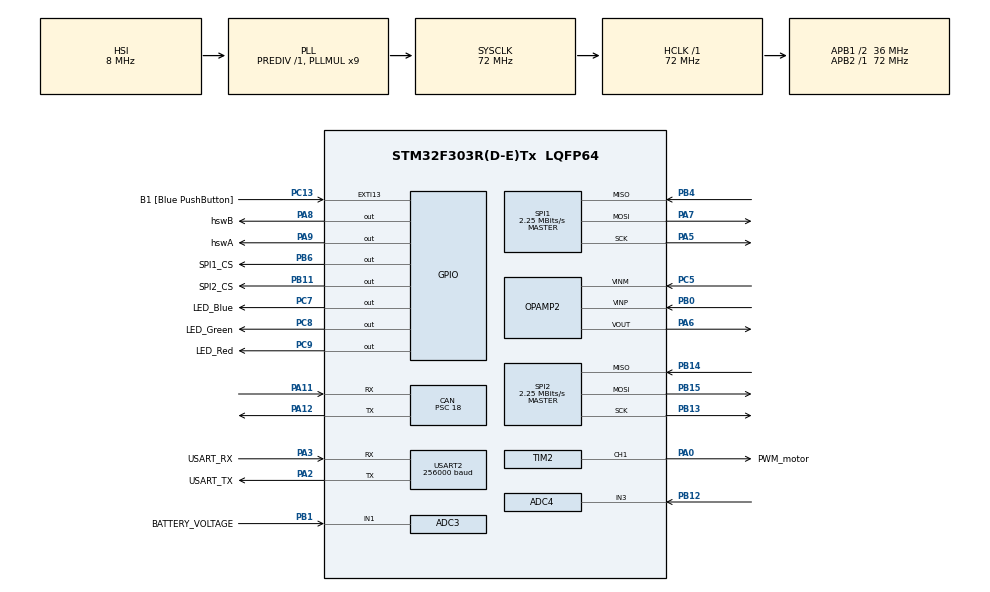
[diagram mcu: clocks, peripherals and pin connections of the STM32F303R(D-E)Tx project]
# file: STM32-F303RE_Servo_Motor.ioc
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ADC1.Channel-0\#ChannelRegularConversion=ADC_CHANNEL_TEMPSENSOR
ADC1.NbrOfConversion=1
ADC1.NbrOfConversionFlag=1
ADC1.Offset-0\#ChannelRegularConversion=0
ADC1.OffsetNumber-0\#ChannelRegularConversion=ADC_OFFSET_NONE
ADC1.Rank-0\#ChannelRegularConversion=1
ADC1.SamplingTime-0\#ChannelRegularConversion=ADC_SAMPLETIME_601CYCLES_5
ADC1.SamplingTimeOPAMP-0\#ChannelRegularConversion=ADC_SAMPLETIME_61CYCLES_5
ADC1.master=1
ADC2.Channel-1\#ChannelRegularConversion=ADC_CHANNEL_3
ADC2.NbrOfConversionFlag=1
ADC2.Offset-1\#ChannelRegularConversion=0
ADC2.OffsetNumber-1\#ChannelRegularConversion=ADC_OFFSET_NONE
ADC2.Rank-1\#ChannelRegularConversion=1
ADC2.SamplingTime-1\#ChannelRegularConversion=ADC_SAMPLETIME_601CYCLES_5
ADC2.SamplingTimeOPAMP-1\#ChannelRegularConversion=ADC_SAMPLETIME_601CYCLES_5
ADC3.Channel-0\#ChannelRegularConversion=ADC_CHANNEL_1
ADC3.NbrOfConversionFlag=1
ADC3.Offset-0\#ChannelRegularConversion=0
ADC3.OffsetNumber-0\#ChannelRegularConversion=ADC_OFFSET_NONE
ADC3.Rank-0\#ChannelRegularConversion=1
ADC3.SamplingTime-0\#ChannelRegularConversion=ADC_SAMPLETIME_601CYCLES_5
ADC3.SamplingTimeOPAMP-0\#ChannelRegularConversion=ADC_SAMPLETIME_61CYCLES_5
ADC3.master=1
ADC4.Channel-1\#ChannelRegularConversion=ADC_CHANNEL_3
ADC4.NbrOfConversionFlag=1
ADC4.Offset-1\#ChannelRegularConversion=0
ADC4.OffsetNumber-1\#ChannelRegularConversion=ADC_OFFSET_NONE
ADC4.Rank-1\#ChannelRegularConversion=1
ADC4.SamplingTime-1\#ChannelRegularConversion=ADC_SAMPLETIME_601CYCLES_5
ADC4.SamplingTimeOPAMP-1\#ChannelRegularConversion=ADC_SAMPLETIME_61CYCLES_5
CAN.BS1=CAN_BS1_2TQ
CAN.CalculateBaudRate=500000
CAN.CalculateTimeBit=2000
CAN.CalculateTimeQuantum=500.0
CAN.NART=DISABLE
CAN.Prescaler=18
FREERTOS.Tasks01=servoUpdate,3,512,StartServoUpdateTask,Default,NULL,Dynamic,NULL,NULL;canFifo0,1,128,startCanFifo0,Default,NULL,Dynamic,NULL,NULL;canFifo1,0,128,StartCanFifo1,Default,NULL,Dynamic,NULL,NULL;canOutput,-3,128,StartCanOutput,Default,NULL,Dynamic,NULL,NULL
FREERTOS.configTOTAL_HEAP_SIZE=4096
FREERTOS.configUSE_NEWLIB_REENTRANT=1
Mcu.Family=STM32F3
Mcu.Name=STM32F303R(D-E)Tx
Mcu.Package=LQFP64
NVIC.CAN_RX1_IRQn=true\:5\:0\:false\:false\:true\:true\:true\:true\:true
NVIC.PriorityGroup=NVIC_PRIORITYGROUP_4
NVIC.TIM1_UP_TIM16_IRQn=true\:15\:0\:false\:false\:true\:false\:false\:true\:true
NVIC.TimeBase=TIM1_UP_TIM16_IRQn
NVIC.TimeBaseIP=TIM1
NVIC.USB_LP_CAN_RX0_IRQn=true\:5\:0\:false\:false\:true\:true\:true\:true\:true
PA0.GPIO_Label=PWM_motor
PA0.Signal=S_TIM2_CH1_ETR
PA11.Mode=CAN_Activate
PA11.Signal=CAN_RX
PA12.Mode=CAN_Activate
PA12.Signal=CAN_TX
PA13.GPIO_Label=TMS
PA13.Mode=Serial_Wire
PA13.Signal=SYS_JTMS-SWDIO
PA14.GPIO_Label=TCK
PA14.Mode=Serial_Wire
PA14.Signal=SYS_JTCK-SWCLK
PA2.GPIO_Label=USART_TX
PA2.GPIO_Mode=GPIO_MODE_AF_PP
PA2.GPIO_PuPd=GPIO_NOPULL
PA2.GPIO_Speed=GPIO_SPEED_FREQ_LOW
PA2.Mode=Asynchronous
PA2.Signal=USART2_TX
PA3.GPIO_Label=USART_RX
PA3.GPIO_Mode=GPIO_MODE_AF_PP
PA3.GPIO_PuPd=GPIO_NOPULL
PA3.GPIO_Speed=GPIO_SPEED_FREQ_LOW
PA3.Mode=Asynchronous
PA3.Signal=USART2_RX
PA5.Mode=Full_Duplex_Master
PA5.Signal=SPI1_SCK
PA6.Mode=Standalone
PA6.Signal=OPAMP2_VOUT
PA7.Mode=Full_Duplex_Master
PA7.Signal=SPI1_MOSI
PA8.GPIO_Label=hswB
PA8.Signal=GPIO_Output
PA9.GPIO_Label=hswA
PA9.Signal=GPIO_Output
PB0.Mode=Standalone
PB0.Signal=OPAMP2_VINP
PB1.GPIO_Label=BATTERY_VOLTAGE
PB1.Mode=IN1-Single-Ended
PB1.Signal=ADC3_IN1
PB11.GPIO_Label=SPI2_CS
PB11.Signal=GPIO_Output
PB12.Mode=IN3-Single-Ended
PB12.Signal=ADC4_IN3
PB13.Mode=Full_Duplex_Master
PB13.Signal=SPI2_SCK
PB14.Mode=Full_Duplex_Master
PB14.Signal=SPI2_MISO
PB15.Mode=Full_Duplex_Master
PB15.Signal=SPI2_MOSI
PB3.GPIO_Label=SWO
PB3.Signal=SYS_JTDO-TRACESWO
PB4.Mode=Full_Duplex_Master
PB4.Signal=SPI1_MISO
PB6.GPIO_Label=SPI1_CS
PB6.Signal=GPIO_Output
PC13.GPIO_Label=B1 [Blue PushButton]
PC13.GPIO_ModeDefaultEXTI=GPIO_MODE_IT_FALLING
PC13.Signal=GPXTI13
PC14-OSC32_IN.Mode=LSE-External-Oscillator
PC14-OSC32_IN.Signal=RCC_OSC32_IN
PC15-OSC32_OUT.Mode=LSE-External-Oscillator
PC15-OSC32_OUT.Signal=RCC_OSC32_OUT
PC5.Mode=Standalone
PC5.Signal=OPAMP2_VINM
PC7.GPIO_Label=LED_Blue
PC7.Signal=GPIO_Output
PC8.GPIO_Label=LED_Green
PC8.Signal=GPIO_Output
PC9.GPIO_Label=LED_Red
PC9.Signal=GPIO_Output
PF0-OSC_IN.Mode=HSE-External-Clock-Source
PF0-OSC_IN.Signal=RCC_OSC_IN
PF1-OSC_OUT.Signal=RCC_OSC_OUT
ProjectManager.HeapSize=0x200
ProjectManager.StackSize=0x400
ProjectManager.TargetToolchain=STM32CubeIDE
RCC.AHBFreq_Value=72000000
RCC.APB1CLKDivider=RCC_HCLK_DIV2
RCC.APB1Freq_Value=36000000
RCC.APB1TimFreq_Value=72000000
RCC.APB2Freq_Value=72000000
RCC.APB2TimFreq_Value=72000000
RCC.CortexFreq_Value=72000000
RCC.HCLKFreq_Value=72000000
RCC.HSE_VALUE=8000000
RCC.HSI_VALUE=8000000
RCC.PLLM=8
RCC.PLLMUL=RCC_PLL_MUL9
RCC.PLLN=336
RCC.PLLP=RCC_PLLP_DIV4
RCC.PLLQ=7
RCC.RCC_PLLsource_Clock_Source_FROM_HSE=RCC_HSE_PREDIV_DIV2
RCC.SYSCLKFreq_VALUE=72000000
RCC.SYSCLKSourceVirtual=RCC_SYSCLKSOURCE_PLLCLK
RCC.USBFreq_Value=72000000
SH.S_TIM2_CH1_ETR.0=TIM2_CH1,PWM Generation1 CH1
SPI1.BaudRatePrescaler=SPI_BAUDRATEPRESCALER_32
SPI1.CLKPhase=SPI_PHASE_2EDGE
SPI1.CalculateBaudRate=2.25 MBits/s
SPI1.DataSize=SPI_DATASIZE_16BIT
SPI1.Direction=SPI_DIRECTION_2LINES
SPI1.Mode=SPI_MODE_MASTER
SPI1.VirtualType=VM_MASTER
SPI2.BaudRatePrescaler=SPI_BAUDRATEPRESCALER_16
SPI2.CLKPhase=SPI_PHASE_2EDGE
SPI2.CLKPolarity=SPI_POLARITY_HIGH
SPI2.CalculateBaudRate=2.25 MBits/s
SPI2.DataSize=SPI_DATASIZE_8BIT
SPI2.Direction=SPI_DIRECTION_2LINES
SPI2.Mode=SPI_MODE_MASTER
SPI2.VirtualType=VM_MASTER
TIM2.Channel-PWM\ Generation1\ CH1=TIM_CHANNEL_1
TIM2.Period=1024
USART2.BaudRate=256000
USART2.Mode=MODE_TX
USART2.OverSampling=UART_OVERSAMPLING_16
USART2.VirtualMode-Asynchronous=VM_ASYNC
VP_ADC1_TempSens_Input.Mode=IN-TempSens
VP_ADC2_OPAMP_OUT2.Mode=IN3-OPAMP2-Single-Ended
VP_FREERTOS_VS_CMSIS_V1.Mode=CMSIS_V1
VP_SYS_VS_tim1.Mode=TIM1
VP_TIM2_VS_ClockSourceINT.Mode=Internal
board=NUCLEO-F303RE

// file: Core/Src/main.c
/* USER CODE BEGIN Header */
/**
  ******************************************************************************
  * @file           : main.c
  * @brief          : Main program body
  ******************************************************************************
  * @attention
  *
  * Copyright (c) 2024 STMicroelectronics.
  * All rights reserved.
  *
  * This software is licensed under terms that can be found in the LICENSE file
  * in the root directory of this software component.
  * If no LICENSE file comes with this software, it is provided AS-IS.
  *
  ******************************************************************************
  */
/* USER CODE END Header */
#include "main.h"
#include "cmsis_os.h"

/* USER CODE BEGIN Includes */
#include "Motor.h"
#include "AS5048A.h"
#include "ADC.h"
#include "HBRIDGE.h"
#include "CAN.h"
#include "LSM6DSO.h"

#include <stdio.h>
#include <stdlib.h>
#include <string.h>
/* USER CODE END Includes */

ADC_HandleTypeDef hadc1;
ADC_HandleTypeDef hadc2;
ADC_HandleTypeDef hadc3;
ADC_HandleTypeDef hadc4;

CAN_HandleTypeDef hcan;

OPAMP_HandleTypeDef hopamp2;

SPI_HandleTypeDef hspi1;
SPI_HandleTypeDef hspi2;

TIM_HandleTypeDef htim2;

UART_HandleTypeDef huart2;

osThreadId servoUpdateHandle;
osThreadId canFifo0Handle;
osThreadId canFifo1Handle;
osThreadId canOutputHandle;
/* USER CODE BEGIN PV */

SERVO_CONTROL servo;

/* USER CODE END PV */

void SystemClock_Config(void);
static void MX_GPIO_Init(void);
static void MX_USART2_UART_Init(void);
static void MX_SPI1_Init(void);
static void MX_ADC1_Init(void);
static void MX_TIM2_Init(void);
static void MX_ADC2_Init(void);
static void MX_ADC3_Init(void);
static void MX_ADC4_Init(void);
static void MX_CAN_Init(void);
static void MX_SPI2_Init(void);
static void MX_OPAMP2_Init(void);
void StartServoUpdateTask(void const * argument);
void startCanFifo0(void const * argument);
void StartCanFifo1(void const * argument);
void StartCanOutput(void const * argument);

/* USER CODE BEGIN 0 */
uint16_t count = 0;

/* USER CODE END 0 */

int main(void)
{

  /* MCU Configuration--------------------------------------------------------*/

  /* Reset of all peripherals, Initializes the Flash interface and the Systick. */
  HAL_Init();

  /* Configure the system clock */
  SystemClock_Config();

  /* Initialize all configured peripherals */
  MX_GPIO_Init();
  MX_USART2_UART_Init();
  MX_SPI1_Init();
  MX_ADC1_Init();
  MX_TIM2_Init();
  MX_ADC2_Init();
  MX_ADC3_Init();
  MX_ADC4_Init();
  MX_CAN_Init();
  MX_SPI2_Init();
  MX_OPAMP2_Init();
  /* USER CODE BEGIN 2 */

  	  /*   Set status led to blue   */
  	  ledSet(0, 0, 1);

  	  /*   Preliminary initialisation sequence   */
  	  servoInit		(&servo);
  	  pidInit		(&servo);
  	  canInit		(&servo, &hcan);

  	  // WHILE STARTUP in stated!

  	  encoderInit	(&servo, &hspi1, SPI1_CS_GPIO_Port, SPI1_CS_Pin);
  	  motorInit		(&servo, &htim2, TIM_CHANNEL_1, hswA_GPIO_Port, hswA_Pin, hswB_GPIO_Port, hswB_Pin);
  	  sensorsInit	(&servo, &hadc1, &hadc2, &hadc3, &hadc4, &hopamp2);

  	  imuInit		(&servo, &hspi2, SPI2_CS_GPIO_Port, SPI2_CS_Pin);

  /* USER CODE END 2 */

  /* Create the thread(s) */
  /* definition and creation of servoUpdate */
  osThreadDef(servoUpdate, StartServoUpdateTask, osPriorityRealtime, 0, 512);
  servoUpdateHandle = osThreadCreate(osThread(servoUpdate), NULL);

  /* definition and creation of canFifo0 */
  osThreadDef(canFifo0, startCanFifo0, osPriorityAboveNormal, 0, 128);
  canFifo0Handle = osThreadCreate(osThread(canFifo0), NULL);

  /* definition and creation of canFifo1 */
  osThreadDef(canFifo1, StartCanFifo1, osPriorityNormal, 0, 128);
  canFifo1Handle = osThreadCreate(osThread(canFifo1), NULL);

  /* definition and creation of canOutput */
  osThreadDef(canOutput, StartCanOutput, osPriorityIdle, 0, 128);
  canOutputHandle = osThreadCreate(osThread(canOutput), NULL);

  /* USER CODE BEGIN RTOS_THREADS */

  /*   Pause can inbox read functions   */
  vTaskSuspend(canFifo0Handle);
  vTaskSuspend(canFifo1Handle);

  /*   Link task handles to struct   */
  servo.can.taskFIFO0 = canFifo0Handle;
  servo.can.taskFIFO1 = canFifo1Handle;

  /*   Activate CAN callback functions   */
  CAN_ActivateCallback(&servo.can);

/*TEMP!!!!!!!!!!!!!!!!!!!!!!!!!!!*/
  torqueEnable(&servo, 1);

  /*   Set status led to green   */
  ledSet(0, 1, 0);

  /* USER CODE END RTOS_THREADS */

  /* Start scheduler */
  osKernelStart();

  /* We should never get here as control is now taken by the scheduler */

  /* Infinite loop */
  while (1)
  {

  }
}

void SystemClock_Config(void)
{
  RCC_OscInitTypeDef RCC_OscInitStruct = {0};
  RCC_ClkInitTypeDef RCC_ClkInitStruct = {0};
  RCC_PeriphCLKInitTypeDef PeriphClkInit = {0};

  /** Initializes the RCC Oscillators according to the specified parameters
  * in the RCC_OscInitTypeDef structure.
  */
  RCC_OscInitStruct.OscillatorType = RCC_OSCILLATORTYPE_HSI;
  RCC_OscInitStruct.HSIState = RCC_HSI_ON;
  RCC_OscInitStruct.HSICalibrationValue = RCC_HSICALIBRATION_DEFAULT;
  RCC_OscInitStruct.PLL.PLLState = RCC_PLL_ON;
  RCC_OscInitStruct.PLL.PLLSource = RCC_PLLSOURCE_HSI;
  RCC_OscInitStruct.PLL.PLLMUL = RCC_PLL_MUL9;
  RCC_OscInitStruct.PLL.PREDIV = RCC_PREDIV_DIV1;
  if (HAL_RCC_OscConfig(&RCC_OscInitStruct) != HAL_OK)
  {
    Error_Handler();
  }

  /** Initializes the CPU, AHB and APB buses clocks
  */
  RCC_ClkInitStruct.ClockType = RCC_CLOCKTYPE_HCLK|RCC_CLOCKTYPE_SYSCLK
                              |RCC_CLOCKTYPE_PCLK1|RCC_CLOCKTYPE_PCLK2;
  RCC_ClkInitStruct.SYSCLKSource = RCC_SYSCLKSOURCE_PLLCLK;
  RCC_ClkInitStruct.AHBCLKDivider = RCC_SYSCLK_DIV1;
  RCC_ClkInitStruct.APB1CLKDivider = RCC_HCLK_DIV2;
  RCC_ClkInitStruct.APB2CLKDivider = RCC_HCLK_DIV1;

  if (HAL_RCC_ClockConfig(&RCC_ClkInitStruct, FLASH_LATENCY_2) != HAL_OK)
  {
    Error_Handler();
  }
  PeriphClkInit.PeriphClockSelection = RCC_PERIPHCLK_USART2|RCC_PERIPHCLK_ADC12
                              |RCC_PERIPHCLK_ADC34|RCC_PERIPHCLK_TIM2;
  PeriphClkInit.Usart2ClockSelection = RCC_USART2CLKSOURCE_PCLK1;
  PeriphClkInit.Adc12ClockSelection = RCC_ADC12PLLCLK_DIV1;
  PeriphClkInit.Adc34ClockSelection = RCC_ADC34PLLCLK_DIV1;
  PeriphClkInit.Tim2ClockSelection = RCC_TIM2CLK_HCLK;
  if (HAL_RCCEx_PeriphCLKConfig(&PeriphClkInit) != HAL_OK)
  {
    Error_Handler();
  }
}

static void MX_ADC1_Init(void)
{

  ADC_MultiModeTypeDef multimode = {0};
  ADC_ChannelConfTypeDef sConfig = {0};

  /** Common config
  */
  hadc1.Instance = ADC1;
  hadc1.Init.ClockPrescaler = ADC_CLOCK_ASYNC_DIV1;
  hadc1.Init.Resolution = ADC_RESOLUTION_12B;
  hadc1.Init.ScanConvMode = ADC_SCAN_DISABLE;
  hadc1.Init.ContinuousConvMode = DISABLE;
  hadc1.Init.DiscontinuousConvMode = DISABLE;
  hadc1.Init.ExternalTrigConvEdge = ADC_EXTERNALTRIGCONVEDGE_NONE;
  hadc1.Init.ExternalTrigConv = ADC_SOFTWARE_START;
  hadc1.Init.DataAlign = ADC_DATAALIGN_RIGHT;
  hadc1.Init.NbrOfConversion = 1;
  hadc1.Init.DMAContinuousRequests = DISABLE;
  hadc1.Init.EOCSelection = ADC_EOC_SINGLE_CONV;
  hadc1.Init.LowPowerAutoWait = DISABLE;
  hadc1.Init.Overrun = ADC_OVR_DATA_OVERWRITTEN;
  if (HAL_ADC_Init(&hadc1) != HAL_OK)
  {
    Error_Handler();
  }

  /** Configure the ADC multi-mode
  */
  multimode.Mode = ADC_MODE_INDEPENDENT;
  if (HAL_ADCEx_MultiModeConfigChannel(&hadc1, &multimode) != HAL_OK)
  {
    Error_Handler();
  }

  /** Configure Regular Channel
  */
  sConfig.Channel = ADC_CHANNEL_TEMPSENSOR;
  sConfig.Rank = ADC_REGULAR_RANK_1;
  sConfig.SingleDiff = ADC_SINGLE_ENDED;
  sConfig.SamplingTime = ADC_SAMPLETIME_601CYCLES_5;
  sConfig.OffsetNumber = ADC_OFFSET_NONE;
  sConfig.Offset = 0;
  if (HAL_ADC_ConfigChannel(&hadc1, &sConfig) != HAL_OK)
  {
    Error_Handler();
  }

}

static void MX_ADC2_Init(void)
{

  ADC_ChannelConfTypeDef sConfig = {0};

  /** Common config
  */
  hadc2.Instance = ADC2;
  hadc2.Init.ClockPrescaler = ADC_CLOCK_ASYNC_DIV1;
  hadc2.Init.Resolution = ADC_RESOLUTION_12B;
  hadc2.Init.ScanConvMode = ADC_SCAN_DISABLE;
  hadc2.Init.ContinuousConvMode = DISABLE;
  hadc2.Init.DiscontinuousConvMode = DISABLE;
  hadc2.Init.ExternalTrigConvEdge = ADC_EXTERNALTRIGCONVEDGE_NONE;
  hadc2.Init.ExternalTrigConv = ADC_SOFTWARE_START;
  hadc2.Init.DataAlign = ADC_DATAALIGN_RIGHT;
  hadc2.Init.NbrOfConversion = 1;
  hadc2.Init.DMAContinuousRequests = DISABLE;
  hadc2.Init.EOCSelection = ADC_EOC_SINGLE_CONV;
  hadc2.Init.LowPowerAutoWait = DISABLE;
  hadc2.Init.Overrun = ADC_OVR_DATA_OVERWRITTEN;
  if (HAL_ADC_Init(&hadc2) != HAL_OK)
  {
    Error_Handler();
  }

  /** Configure Regular Channel
  */
  sConfig.Channel = ADC_CHANNEL_3;
  sConfig.Rank = ADC_REGULAR_RANK_1;
  sConfig.SingleDiff = ADC_SINGLE_ENDED;
  sConfig.SamplingTime = ADC_SAMPLETIME_601CYCLES_5;
  sConfig.OffsetNumber = ADC_OFFSET_NONE;
  sConfig.Offset = 0;
  if (HAL_ADC_ConfigChannel(&hadc2, &sConfig) != HAL_OK)
  {
    Error_Handler();
  }

}

static void MX_ADC3_Init(void)
{

  ADC_MultiModeTypeDef multimode = {0};
  ADC_ChannelConfTypeDef sConfig = {0};

  /** Common config
  */
  hadc3.Instance = ADC3;
  hadc3.Init.ClockPrescaler = ADC_CLOCK_ASYNC_DIV1;
  hadc3.Init.Resolution = ADC_RESOLUTION_12B;
  hadc3.Init.ScanConvMode = ADC_SCAN_DISABLE;
  hadc3.Init.ContinuousConvMode = DISABLE;
  hadc3.Init.DiscontinuousConvMode = DISABLE;
  hadc3.Init.ExternalTrigConvEdge = ADC_EXTERNALTRIGCONVEDGE_NONE;
  hadc3.Init.ExternalTrigConv = ADC_SOFTWARE_START;
  hadc3.Init.DataAlign = ADC_DATAALIGN_RIGHT;
  hadc3.Init.NbrOfConversion = 1;
  hadc3.Init.DMAContinuousRequests = DISABLE;
  hadc3.Init.EOCSelection = ADC_EOC_SINGLE_CONV;
  hadc3.Init.LowPowerAutoWait = DISABLE;
  hadc3.Init.Overrun = ADC_OVR_DATA_OVERWRITTEN;
  if (HAL_ADC_Init(&hadc3) != HAL_OK)
  {
    Error_Handler();
  }

  /** Configure the ADC multi-mode
  */
  multimode.Mode = ADC_MODE_INDEPENDENT;
  if (HAL_ADCEx_MultiModeConfigChannel(&hadc3, &multimode) != HAL_OK)
  {
    Error_Handler();
  }

  /** Configure Regular Channel
  */
  sConfig.Channel = ADC_CHANNEL_1;
  sConfig.Rank = ADC_REGULAR_RANK_1;
  sConfig.SingleDiff = ADC_SINGLE_ENDED;
  sConfig.SamplingTime = ADC_SAMPLETIME_601CYCLES_5;
  sConfig.OffsetNumber = ADC_OFFSET_NONE;
  sConfig.Offset = 0;
  if (HAL_ADC_ConfigChannel(&hadc3, &sConfig) != HAL_OK)
  {
    Error_Handler();
  }

}

static void MX_ADC4_Init(void)
{

  ADC_ChannelConfTypeDef sConfig = {0};

  /** Common config
  */
  hadc4.Instance = ADC4;
  hadc4.Init.ClockPrescaler = ADC_CLOCK_ASYNC_DIV1;
  hadc4.Init.Resolution = ADC_RESOLUTION_12B;
  hadc4.Init.ScanConvMode = ADC_SCAN_DISABLE;
  hadc4.Init.ContinuousConvMode = DISABLE;
  hadc4.Init.DiscontinuousConvMode = DISABLE;
  hadc4.Init.ExternalTrigConvEdge = ADC_EXTERNALTRIGCONVEDGE_NONE;
  hadc4.Init.ExternalTrigConv = ADC_SOFTWARE_START;
  hadc4.Init.DataAlign = ADC_DATAALIGN_RIGHT;
  hadc4.Init.NbrOfConversion = 1;
  hadc4.Init.DMAContinuousRequests = DISABLE;
  hadc4.Init.EOCSelection = ADC_EOC_SINGLE_CONV;
  hadc4.Init.LowPowerAutoWait = DISABLE;
  hadc4.Init.Overrun = ADC_OVR_DATA_OVERWRITTEN;
  if (HAL_ADC_Init(&hadc4) != HAL_OK)
  {
    Error_Handler();
  }

  /** Configure Regular Channel
  */
  sConfig.Channel = ADC_CHANNEL_3;
  sConfig.Rank = ADC_REGULAR_RANK_1;
  sConfig.SingleDiff = ADC_SINGLE_ENDED;
  sConfig.SamplingTime = ADC_SAMPLETIME_601CYCLES_5;
  sConfig.OffsetNumber = ADC_OFFSET_NONE;
  sConfig.Offset = 0;
  if (HAL_ADC_ConfigChannel(&hadc4, &sConfig) != HAL_OK)
  {
    Error_Handler();
  }

}

static void MX_CAN_Init(void)
{

  hcan.Instance = CAN;
  hcan.Init.Prescaler = 18;
  hcan.Init.Mode = CAN_MODE_NORMAL;
  hcan.Init.SyncJumpWidth = CAN_SJW_1TQ;
  hcan.Init.TimeSeg1 = CAN_BS1_2TQ;
  hcan.Init.TimeSeg2 = CAN_BS2_1TQ;
  hcan.Init.TimeTriggeredMode = DISABLE;
  hcan.Init.AutoBusOff = DISABLE;
  hcan.Init.AutoWakeUp = DISABLE;
  hcan.Init.AutoRetransmission = DISABLE;
  hcan.Init.ReceiveFifoLocked = DISABLE;
  hcan.Init.TransmitFifoPriority = DISABLE;
  if (HAL_CAN_Init(&hcan) != HAL_OK)
  {
    Error_Handler();
  }

}

static void MX_OPAMP2_Init(void)
{

  hopamp2.Instance = OPAMP2;
  hopamp2.Init.Mode = OPAMP_STANDALONE_MODE;
  hopamp2.Init.NonInvertingInput = OPAMP_NONINVERTINGINPUT_IO2;
  hopamp2.Init.InvertingInput = OPAMP_INVERTINGINPUT_IO0;
  hopamp2.Init.TimerControlledMuxmode = OPAMP_TIMERCONTROLLEDMUXMODE_DISABLE;
  hopamp2.Init.UserTrimming = OPAMP_TRIMMING_FACTORY;
  if (HAL_OPAMP_Init(&hopamp2) != HAL_OK)
  {
    Error_Handler();
  }

}

static void MX_SPI1_Init(void)
{

  /* SPI1 parameter configuration*/
  hspi1.Instance = SPI1;
  hspi1.Init.Mode = SPI_MODE_MASTER;
  hspi1.Init.Direction = SPI_DIRECTION_2LINES;
  hspi1.Init.DataSize = SPI_DATASIZE_16BIT;
  hspi1.Init.CLKPolarity = SPI_POLARITY_LOW;
  hspi1.Init.CLKPhase = SPI_PHASE_2EDGE;
  hspi1.Init.NSS = SPI_NSS_SOFT;
  hspi1.Init.BaudRatePrescaler = SPI_BAUDRATEPRESCALER_32;
  hspi1.Init.FirstBit = SPI_FIRSTBIT_MSB;
  hspi1.Init.TIMode = SPI_TIMODE_DISABLE;
  hspi1.Init.CRCCalculation = SPI_CRCCALCULATION_DISABLE;
  hspi1.Init.CRCPolynomial = 7;
  hspi1.Init.CRCLength = SPI_CRC_LENGTH_DATASIZE;
  hspi1.Init.NSSPMode = SPI_NSS_PULSE_DISABLE;
  if (HAL_SPI_Init(&hspi1) != HAL_OK)
  {
    Error_Handler();
  }

}

static void MX_SPI2_Init(void)
{

  /* SPI2 parameter configuration*/
  hspi2.Instance = SPI2;
  hspi2.Init.Mode = SPI_MODE_MASTER;
  hspi2.Init.Direction = SPI_DIRECTION_2LINES;
  hspi2.Init.DataSize = SPI_DATASIZE_8BIT;
  hspi2.Init.CLKPolarity = SPI_POLARITY_HIGH;
  hspi2.Init.CLKPhase = SPI_PHASE_2EDGE;
  hspi2.Init.NSS = SPI_NSS_SOFT;
  hspi2.Init.BaudRatePrescaler = SPI_BAUDRATEPRESCALER_16;
  hspi2.Init.FirstBit = SPI_FIRSTBIT_MSB;
  hspi2.Init.TIMode = SPI_TIMODE_DISABLE;
  hspi2.Init.CRCCalculation = SPI_CRCCALCULATION_DISABLE;
  hspi2.Init.CRCPolynomial = 7;
  hspi2.Init.CRCLength = SPI_CRC_LENGTH_DATASIZE;
  hspi2.Init.NSSPMode = SPI_NSS_PULSE_DISABLE;
  if (HAL_SPI_Init(&hspi2) != HAL_OK)
  {
    Error_Handler();
  }

}

static void MX_TIM2_Init(void)
{

  TIM_ClockConfigTypeDef sClockSourceConfig = {0};
  TIM_MasterConfigTypeDef sMasterConfig = {0};
  TIM_OC_InitTypeDef sConfigOC = {0};

  htim2.Instance = TIM2;
  htim2.Init.Prescaler = 0;
  htim2.Init.CounterMode = TIM_COUNTERMODE_UP;
  htim2.Init.Period = 1024;
  htim2.Init.ClockDivision = TIM_CLOCKDIVISION_DIV1;
  htim2.Init.AutoReloadPreload = TIM_AUTORELOAD_PRELOAD_DISABLE;
  if (HAL_TIM_Base_Init(&htim2) != HAL_OK)
  {
    Error_Handler();
  }
  sClockSourceConfig.ClockSource = TIM_CLOCKSOURCE_INTERNAL;
  if (HAL_TIM_ConfigClockSource(&htim2, &sClockSourceConfig) != HAL_OK)
  {
    Error_Handler();
  }
  if (HAL_TIM_PWM_Init(&htim2) != HAL_OK)
  {
    Error_Handler();
  }
  sMasterConfig.MasterOutputTrigger = TIM_TRGO_RESET;
  sMasterConfig.MasterSlaveMode = TIM_MASTERSLAVEMODE_DISABLE;
  if (HAL_TIMEx_MasterConfigSynchronization(&htim2, &sMasterConfig) != HAL_OK)
  {
    Error_Handler();
  }
  sConfigOC.OCMode = TIM_OCMODE_PWM1;
  sConfigOC.Pulse = 0;
  sConfigOC.OCPolarity = TIM_OCPOLARITY_HIGH;
  sConfigOC.OCFastMode = TIM_OCFAST_DISABLE;
  if (HAL_TIM_PWM_ConfigChannel(&htim2, &sConfigOC, TIM_CHANNEL_1) != HAL_OK)
  {
    Error_Handler();
  }
  HAL_TIM_MspPostInit(&htim2);

}

static void MX_USART2_UART_Init(void)
{

  huart2.Instance = USART2;
  huart2.Init.BaudRate = 256000;
  huart2.Init.WordLength = UART_WORDLENGTH_8B;
  huart2.Init.StopBits = UART_STOPBITS_1;
  huart2.Init.Parity = UART_PARITY_NONE;
  huart2.Init.Mode = UART_MODE_TX;
  huart2.Init.HwFlowCtl = UART_HWCONTROL_NONE;
  huart2.Init.OverSampling = UART_OVERSAMPLING_16;
  huart2.Init.OneBitSampling = UART_ONE_BIT_SAMPLE_DISABLE;
  huart2.AdvancedInit.AdvFeatureInit = UART_ADVFEATURE_NO_INIT;
  if (HAL_UART_Init(&huart2) != HAL_OK)
  {
    Error_Handler();
  }

}

static void MX_GPIO_Init(void)
{
  GPIO_InitTypeDef GPIO_InitStruct = {0};

  /* GPIO Ports Clock Enable */
  __HAL_RCC_GPIOC_CLK_ENABLE();
  __HAL_RCC_GPIOF_CLK_ENABLE();
  __HAL_RCC_GPIOA_CLK_ENABLE();
  __HAL_RCC_GPIOB_CLK_ENABLE();

  /*Configure GPIO pin Output Level */
  HAL_GPIO_WritePin(GPIOB, SPI2_CS_Pin|SPI1_CS_Pin, GPIO_PIN_RESET);

  /*Configure GPIO pin Output Level */
  HAL_GPIO_WritePin(GPIOC, LED_Blue_Pin|LED_Green_Pin|LED_Red_Pin, GPIO_PIN_RESET);

  /*Configure GPIO pin Output Level */
  HAL_GPIO_WritePin(GPIOA, hswB_Pin|hswA_Pin, GPIO_PIN_RESET);

  /*Configure GPIO pin : B1_Pin */
  GPIO_InitStruct.Pin = B1_Pin;
  GPIO_InitStruct.Mode = GPIO_MODE_IT_FALLING;
  GPIO_InitStruct.Pull = GPIO_NOPULL;
  HAL_GPIO_Init(B1_GPIO_Port, &GPIO_InitStruct);

  /*Configure GPIO pins : SPI2_CS_Pin SPI1_CS_Pin */
  GPIO_InitStruct.Pin = SPI2_CS_Pin|SPI1_CS_Pin;
  GPIO_InitStruct.Mode = GPIO_MODE_OUTPUT_PP;
  GPIO_InitStruct.Pull = GPIO_NOPULL;
  GPIO_InitStruct.Speed = GPIO_SPEED_FREQ_LOW;
  HAL_GPIO_Init(GPIOB, &GPIO_InitStruct);

  /*Configure GPIO pins : LED_Blue_Pin LED_Green_Pin LED_Red_Pin */
  GPIO_InitStruct.Pin = LED_Blue_Pin|LED_Green_Pin|LED_Red_Pin;
  GPIO_InitStruct.Mode = GPIO_MODE_OUTPUT_PP;
  GPIO_InitStruct.Pull = GPIO_NOPULL;
  GPIO_InitStruct.Speed = GPIO_SPEED_FREQ_LOW;
  HAL_GPIO_Init(GPIOC, &GPIO_InitStruct);

  /*Configure GPIO pins : hswB_Pin hswA_Pin */
  GPIO_InitStruct.Pin = hswB_Pin|hswA_Pin;
  GPIO_InitStruct.Mode = GPIO_MODE_OUTPUT_PP;
  GPIO_InitStruct.Pull = GPIO_NOPULL;
  GPIO_InitStruct.Speed = GPIO_SPEED_FREQ_LOW;
  HAL_GPIO_Init(GPIOA, &GPIO_InitStruct);

}

/* USER CODE BEGIN 4 */

/*   CAN Message receive callback   */
void HAL_CAN_RxFifo0MsgPendingCallback(CAN_HandleTypeDef *hcan) {

	/*   Deactivate callback   */
	HAL_CAN_DeactivateNotification(hcan, CAN_IT_RX_FIFO0_MSG_PENDING);

	/*   Allow start of CAN read task    */
	xTaskResumeFromISR(servo.can.taskFIFO0);
}

void HAL_CAN_RxFifo1MsgPendingCallback(CAN_HandleTypeDef *hcan) {

	/*   Deactivate callback   */
	HAL_CAN_DeactivateNotification(hcan, CAN_IT_RX_FIFO1_MSG_PENDING);

	/*   Allow start of CAN read task    */
	xTaskResumeFromISR(servo.can.taskFIFO1);
}

/* USER CODE END 4 */

void StartServoUpdateTask(void const * argument)
{
  /* USER CODE BEGIN 5 */
	char str[32];

  /* Infinite loop */
  for(;;)
  {

	/*   Sensors update   */
	sensorsUpdate	(&servo);
	imuUpdateAngle  (&servo);
	encoderUpdate	(&servo);

	/*   Sensor fault range check   */
	sensorsCheck    (&servo);

	/*   Motion update sequence   */
	motionPorfile	(&servo);
	pidUpdate		(&servo);
	motorUpdatePWM	(&servo);

	sprintf(str, "%.2f \t %.2f \t%.2f \t%.2f \t\n", 1.0f * servo.imu.extAngleX, 1.0f * servo.imu.extAngleY, servo.velocity * 1.0f, servo.motorCurrent.converData / 1000.0f);
	HAL_UART_Transmit(&huart2, (uint8_t *)str, strlen((char*)str), HAL_MAX_DELAY);

	 // Test motion

	 	 if (count == 0 ){
	 		 	 	 servo.goalPosition  = 5855;

	 	 	}
	 	 if (count == 200 ){
	 			 		servo.goalPosition  = 6048;

	 		 	}
	 	 if (count == 400 ){
	 	 			 	servo.goalPosition  = 4427;

	 	 		 	}
	 	 if (count == 600 ){
	 	 			 	servo.goalPosition  = 4985;

	 	 		 	}
	 	 if (count == 800 ){
	 	 			 	servo.goalPosition  = 5335;

	 	 		 	}
	 	 if (count == 1000 ){
	 	 			 	servo.goalPosition  = 7300;

	 	 		 	}
	 	 if (count == 1200 ){
	 	 			 	servo.goalPosition  = 5352;

	 	 		 	}
	 	 if (count == 1400 ){
	 		 	 	 	servo.goalPosition  = 8000;
	 	 				count = 0;
	 	 		 	}
	 	count += 1;
    osDelay(servo.PID.samplePeriod);				//Set period to be same as PID sample time

  }

  osThreadTerminate( NULL );						// In case of accidental break from for loop

  /* USER CODE END 5 */
}

void startCanFifo0(void const * argument)
{
  /* USER CODE BEGIN startCanFifo0 */
  /* Infinite loop */
  for(;;)
  {

	  /*   Read CAN frame, execute instruction   */
	  processCanMessages(&servo, CAN_RX_FIFO0);

	  /*   Activate callback   */
	  HAL_CAN_ActivateNotification(&hcan, CAN_IT_RX_FIFO0_MSG_PENDING);

	  /*   Disable task   */
	  vTaskSuspend( NULL );

	  osDelay(1);						// Run whenever open slot

  }

  osThreadTerminate( NULL );		// In case of accidental break from for loop

  /* USER CODE END startCanFifo0 */
}

void StartCanFifo1(void const * argument)
{
  /* USER CODE BEGIN StartCanFifo1 */
  /* Infinite loop */
  for(;;)
  {

	  /*   Read CAN frame, execute instruction   */
	  processCanMessages(&servo, CAN_RX_FIFO1);

	  /*   Activate callback   */
	  HAL_CAN_ActivateNotification(&hcan, CAN_IT_RX_FIFO1_MSG_PENDING);

	  /*   Disable task   */
	  vTaskSuspend( NULL );

	  osDelay(1);						// Run whenever open slot

  }

  osThreadTerminate( NULL );		// In case of accidental break from for loop

  /* USER CODE END StartCanFifo1 */
}

void StartCanOutput(void const * argument)
{
  /* USER CODE BEGIN StartCanOutput */
  /* Infinite loop */
  for(;;)
  {

	/*   Send standard output frames   */
//	readStandard1(&servo, NULL, NULL, 1);
//	readStandard2(&servo, NULL, NULL, 1);
//	readStandard3(&servo, NULL, NULL, 1);
//	readStandard4(&servo, NULL, NULL, 1);

    osDelay(SERVO_OUTPUT_INTERVAL);

  }

  osThreadTerminate( NULL );		// In case of accidental break from for loop

  /* USER CODE END StartCanOutput */
}

void HAL_TIM_PeriodElapsedCallback(TIM_HandleTypeDef *htim)
{
  if (htim->Instance == TIM1) {
    HAL_IncTick();
  }
}

void Error_Handler(void)
{
  __disable_irq();
  while (1)
  {
  }
}
